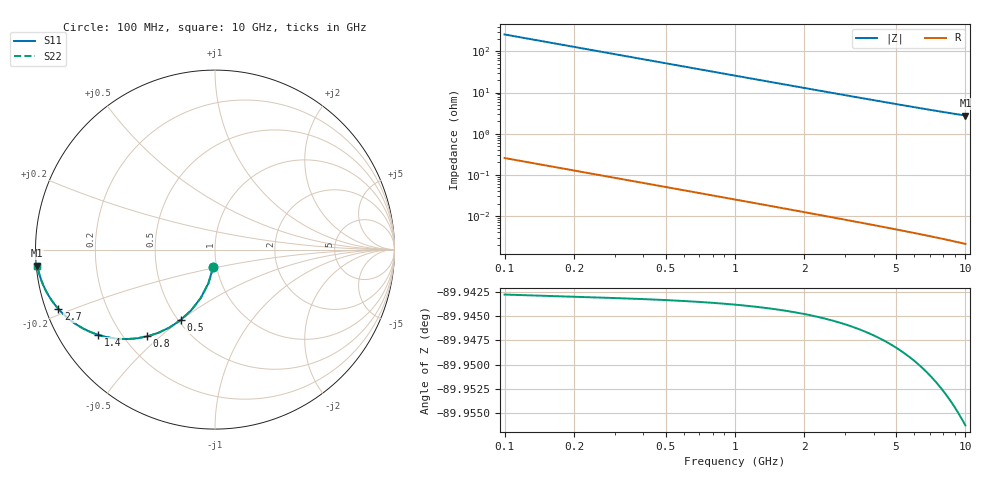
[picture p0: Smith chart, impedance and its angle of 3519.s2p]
# Hz S RI R 50.00
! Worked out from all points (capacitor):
!   100 points, 100 MHz to 10 GHz, reference 50 ohm
!   read as one part in shunt: C = 6.19 pF near 100 MHz
!   lowest |Z| = 2.76 ohm at 10 GHz (marker M1)
!   S11 on the Smith chart (normalised r, x): 100 MHz: 0.96, -0.19; 500 MHz: 0.51, -0.50; 800 MHz: 0.29, -0.45; 1.4 GHz: 0.12, -0.32; 2.7 GHz: 0.04, -0.18; 10 GHz: 0.00, -0.05
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1e8  -0.00945 -0.0963  0.9905 -0.0965  0.9905 -0.0965  -0.00945 -0.0963
2e8  -0.0366 -0.1872  0.9633 -0.1876  0.9633 -0.1876  -0.0366 -0.1872
3e8  -0.0787 -0.2685  0.9213 -0.2691  0.9213 -0.2691  -0.0787 -0.2685
4e8  -0.1317 -0.3374  0.8682 -0.3381  0.8682 -0.3381  -0.1317 -0.3374
5e8  -0.1915 -0.3926  0.8084 -0.3935  0.8084 -0.3935  -0.1915 -0.3926
6e8  -0.2543 -0.4344  0.7457 -0.4355  0.7457 -0.4355  -0.2543 -0.4344
7e8  -0.3169 -0.4641  0.6831 -0.4654  0.6831 -0.4654  -0.3169 -0.4641
8e8  -0.3772 -0.4835  0.6228 -0.4849  0.6228 -0.4849  -0.3772 -0.4835
9e8  -0.4338 -0.4943  0.5662 -0.4959  0.5662 -0.4959  -0.4338 -0.4943
1.1e9  -0.5335 -0.4974  0.4664 -0.4994  0.4664 -0.4994  -0.5335 -0.4974
1.2e9  -0.5764 -0.4925  0.4236 -0.4947  0.4236 -0.4947  -0.5764 -0.4925
1.4e9  -0.6492 -0.4754  0.3507 -0.478  0.3507 -0.478  -0.6492 -0.4754
1.6e9  -0.7073 -0.453  0.2927 -0.4559  0.2927 -0.4559  -0.7073 -0.453
1.8e9  -0.7535 -0.4288  0.2465 -0.4321  0.2465 -0.4321  -0.7535 -0.4288
2.2e9  -0.8202 -0.3815  0.1797 -0.3855  0.1797 -0.3855  -0.8202 -0.3815
2.7e9  -0.8729 -0.3301  0.1271 -0.3351  0.1271 -0.3351  -0.8729 -0.3301
3.4e9  -0.9158 -0.274  0.0841 -0.2802  0.0841 -0.2802  -0.9158 -0.274
4.2e9  -0.9432 -0.227  0.0567 -0.2348  0.0567 -0.2348  -0.9432 -0.227
5.1e9  -0.9608 -0.1888  0.0391 -0.1982  0.0391 -0.1982  -0.9608 -0.1888
6.7e9  -0.977 -0.1429  0.0229 -0.1555  0.0229 -0.1555  -0.977 -0.1429
8.4e9  -0.9853 -0.1113  0.0145 -0.1273  0.0145 -0.1273  -0.9853 -0.1113
1e10  -0.9897 -0.0903  0.0101 -0.1095  0.0101 -0.1095  -0.9897 -0.0903
